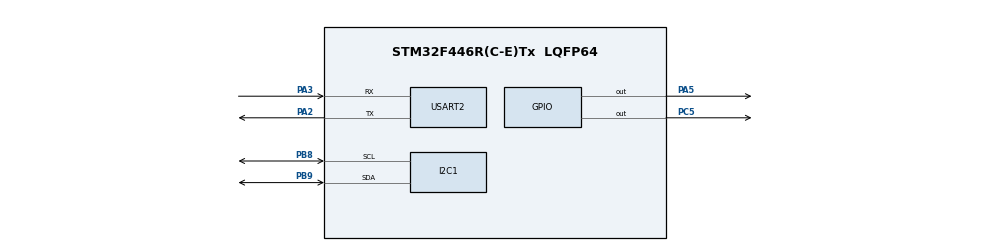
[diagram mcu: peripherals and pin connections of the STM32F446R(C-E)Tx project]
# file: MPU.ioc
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Mcu.Family=STM32F4
Mcu.Name=STM32F446R(C-E)Tx
Mcu.Package=LQFP64
NVIC.PriorityGroup=NVIC_PRIORITYGROUP_4
NVIC.USART2_IRQn=true\:0\:0\:false\:false\:true\:true\:true\:true
PA2.Mode=Asynchronous
PA2.Signal=USART2_TX
PA3.Mode=Asynchronous
PA3.Signal=USART2_RX
PA5.Signal=GPIO_Output
PB8.Mode=I2C
PB8.Signal=I2C1_SCL
PB9.Mode=I2C
PB9.Signal=I2C1_SDA
PC5.Signal=GPIO_Output
ProjectManager.HeapSize=0x200
ProjectManager.StackSize=0x400
ProjectManager.TargetToolchain=STM32CubeIDE
RCC.CortexFreq_Value=16000000
RCC.USBFreq_Value=96000000
RCC.VCOOutputFreq_Value=192000000
USART2.VirtualMode=VM_ASYNC
board=custom

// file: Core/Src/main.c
/* USER CODE BEGIN Header */
/**
  ******************************************************************************
  * @file           : main.c
  * @brief          : Main program body
  ******************************************************************************
  * @attention
  *
  * Copyright (c) 2025 STMicroelectronics.
  * All rights reserved.
  *
  * This software is licensed under terms that can be found in the LICENSE file
  * in the root directory of this software component.
  * If no LICENSE file comes with this software, it is provided AS-IS.
  *
  ******************************************************************************
  */
/* USER CODE END Header */
#include "main.h"

/* USER CODE BEGIN Includes */

#include "FreeRTOS.h"
#include "task.h"
#include "task1.h"

/* USER CODE END Includes */

I2C_HandleTypeDef hi2c1;

UART_HandleTypeDef huart2;

/* USER CODE BEGIN PV */
float yaw_dps;

TaskHandle_t taskhandle1;
TaskHandle_t taskhandle2;
TaskHandle_t taskhandle3;
/* USER CODE END PV */

void SystemClock_Config(void);
static void MX_GPIO_Init(void);
static void MX_I2C1_Init(void);
static void MX_USART2_UART_Init(void);
/* USER CODE BEGIN PFP */
void initfunc (void *paramters);
void taskfunc1 (void *parameters);
void taskfunc2 (void *parameters);
void taskfunc3(void *parameters);
/* USER CODE END PFP */

int main(void)
{

  /* MCU Configuration--------------------------------------------------------*/

  /* Reset of all peripherals, Initializes the Flash interface and the Systick. */
  HAL_Init();

  /* Configure the system clock */
  SystemClock_Config();

  /* Initialize all configured peripherals */
  MX_GPIO_Init();
  MX_I2C1_Init();
  MX_USART2_UART_Init();
  /* USER CODE BEGIN 2 */
  //initialisation task

  printf("Initialisation done.");
  xTaskCreate(initfunc, "mpuinit", 200, NULL, 2, NULL);
  //task 1 priivileged

  xTaskCreate(taskfunc1,"mpuread",200, NULL, 2, &taskhandle1 );
  // task 2 control unit privileged

  xTaskCreate(taskfunc2, "control unit", 200, NULL, 2, &taskhandle2);

  //task 3 logger task
  xTaskCreate(taskfunc3,"logger",200,NULL,2,&taskhandle3);
  vTaskStartScheduler();

  /* USER CODE END 2 */

  /* Infinite loop */
  while (1)
  {

  }
}

void SystemClock_Config(void)
{
  RCC_OscInitTypeDef RCC_OscInitStruct = {0};
  RCC_ClkInitTypeDef RCC_ClkInitStruct = {0};

  /** Configure the main internal regulator output voltage
  */
  __HAL_RCC_PWR_CLK_ENABLE();
  __HAL_PWR_VOLTAGESCALING_CONFIG(PWR_REGULATOR_VOLTAGE_SCALE3);

  /** Initializes the RCC Oscillators according to the specified parameters
  * in the RCC_OscInitTypeDef structure.
  */
  RCC_OscInitStruct.OscillatorType = RCC_OSCILLATORTYPE_HSI;
  RCC_OscInitStruct.HSIState = RCC_HSI_ON;
  RCC_OscInitStruct.HSICalibrationValue = RCC_HSICALIBRATION_DEFAULT;
  RCC_OscInitStruct.PLL.PLLState = RCC_PLL_NONE;
  if (HAL_RCC_OscConfig(&RCC_OscInitStruct) != HAL_OK)
  {
    Error_Handler();
  }

  /** Initializes the CPU, AHB and APB buses clocks
  */
  RCC_ClkInitStruct.ClockType = RCC_CLOCKTYPE_HCLK|RCC_CLOCKTYPE_SYSCLK
                              |RCC_CLOCKTYPE_PCLK1|RCC_CLOCKTYPE_PCLK2;
  RCC_ClkInitStruct.SYSCLKSource = RCC_SYSCLKSOURCE_HSI;
  RCC_ClkInitStruct.AHBCLKDivider = RCC_SYSCLK_DIV1;
  RCC_ClkInitStruct.APB1CLKDivider = RCC_HCLK_DIV1;
  RCC_ClkInitStruct.APB2CLKDivider = RCC_HCLK_DIV1;

  if (HAL_RCC_ClockConfig(&RCC_ClkInitStruct, FLASH_LATENCY_0) != HAL_OK)
  {
    Error_Handler();
  }
}

static void MX_I2C1_Init(void)
{

  hi2c1.Instance = I2C1;
  hi2c1.Init.ClockSpeed = 100000;
  hi2c1.Init.DutyCycle = I2C_DUTYCYCLE_2;
  hi2c1.Init.OwnAddress1 = 0;
  hi2c1.Init.AddressingMode = I2C_ADDRESSINGMODE_7BIT;
  hi2c1.Init.DualAddressMode = I2C_DUALADDRESS_DISABLE;
  hi2c1.Init.OwnAddress2 = 0;
  hi2c1.Init.GeneralCallMode = I2C_GENERALCALL_DISABLE;
  hi2c1.Init.NoStretchMode = I2C_NOSTRETCH_DISABLE;
  if (HAL_I2C_Init(&hi2c1) != HAL_OK)
  {
    Error_Handler();
  }

}

static void MX_USART2_UART_Init(void)
{

  huart2.Instance = USART2;
  huart2.Init.BaudRate = 115200;
  huart2.Init.WordLength = UART_WORDLENGTH_8B;
  huart2.Init.StopBits = UART_STOPBITS_1;
  huart2.Init.Parity = UART_PARITY_NONE;
  huart2.Init.Mode = UART_MODE_TX_RX;
  huart2.Init.HwFlowCtl = UART_HWCONTROL_NONE;
  huart2.Init.OverSampling = UART_OVERSAMPLING_16;
  if (HAL_UART_Init(&huart2) != HAL_OK)
  {
    Error_Handler();
  }

}

static void MX_GPIO_Init(void)
{
  GPIO_InitTypeDef GPIO_InitStruct = {0};

  /* GPIO Ports Clock Enable */
  __HAL_RCC_GPIOA_CLK_ENABLE();
  __HAL_RCC_GPIOC_CLK_ENABLE();
  __HAL_RCC_GPIOB_CLK_ENABLE();

  /*Configure GPIO pin Output Level */
  HAL_GPIO_WritePin(GPIOA, GPIO_PIN_5, GPIO_PIN_RESET);

  /*Configure GPIO pin Output Level */
  HAL_GPIO_WritePin(GPIOC, GPIO_PIN_5, GPIO_PIN_RESET);

  /*Configure GPIO pin : PA5 */
  GPIO_InitStruct.Pin = GPIO_PIN_5;
  GPIO_InitStruct.Mode = GPIO_MODE_OUTPUT_PP;
  GPIO_InitStruct.Pull = GPIO_NOPULL;
  GPIO_InitStruct.Speed = GPIO_SPEED_FREQ_LOW;
  HAL_GPIO_Init(GPIOA, &GPIO_InitStruct);

  /*Configure GPIO pin : PC5 */
  GPIO_InitStruct.Pin = GPIO_PIN_5;
  GPIO_InitStruct.Mode = GPIO_MODE_OUTPUT_PP;
  GPIO_InitStruct.Pull = GPIO_NOPULL;
  GPIO_InitStruct.Speed = GPIO_SPEED_FREQ_LOW;
  HAL_GPIO_Init(GPIOC, &GPIO_InitStruct);

}

/* USER CODE BEGIN 4 */

void initfunc (void *parameters)

	{

		mpuint(NULL);

		vTaskDelete(NULL);
	}

void taskfunc1(void *parameters)
{
	while (1)
	{
	mpuread(NULL);
	vTaskDelay(1000);
	}
}

void taskfunc2(void *parameters)
{
	while (1)
	{
	controlunit();
	vTaskDelay(100);
	}
}
void taskfunc3(void *parameters)
{
	while (1)
	{
	logger();
	vTaskDelay(100);
	}
}

/* USER CODE END 4 */

void Error_Handler(void)
{
  __disable_irq();
  while (1)
  {
  }
}
